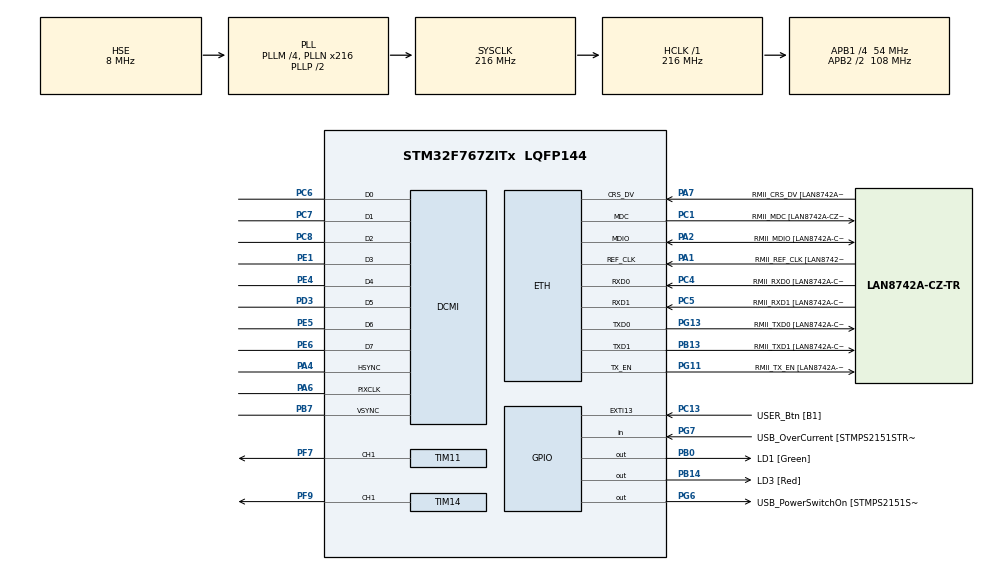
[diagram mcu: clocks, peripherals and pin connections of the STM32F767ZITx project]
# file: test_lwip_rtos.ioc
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CORTEX_M7.AccessPermission-Cortex_Memory_Protection_Unit_Region0_Settings=MPU_REGION_FULL_ACCESS
CORTEX_M7.AccessPermission-Cortex_Memory_Protection_Unit_Region1_Settings=MPU_REGION_FULL_ACCESS
CORTEX_M7.BaseAddress-Cortex_Memory_Protection_Unit_Region0_Settings=0x2007C000
CORTEX_M7.BaseAddress-Cortex_Memory_Protection_Unit_Region1_Settings=0x2007C000
CORTEX_M7.CPU_DCache=Enabled
CORTEX_M7.CPU_ICache=Enabled
CORTEX_M7.Enable-Cortex_Memory_Protection_Unit_Region0_Settings=MPU_REGION_ENABLE
CORTEX_M7.Enable-Cortex_Memory_Protection_Unit_Region1_Settings=MPU_REGION_ENABLE
CORTEX_M7.FlashInterface=TCM_Enabled
CORTEX_M7.IsBufferable-Cortex_Memory_Protection_Unit_Region1_Settings=MPU_ACCESS_BUFFERABLE
CORTEX_M7.IsShareable-Cortex_Memory_Protection_Unit_Region0_Settings=MPU_ACCESS_SHAREABLE
CORTEX_M7.IsShareable-Cortex_Memory_Protection_Unit_Region1_Settings=MPU_ACCESS_SHAREABLE
CORTEX_M7.MPU_Control=MPU_PRIVILEGED_DEFAULT
CORTEX_M7.Size-Cortex_Memory_Protection_Unit_Region0_Settings=MPU_REGION_SIZE_16KB
CORTEX_M7.Size-Cortex_Memory_Protection_Unit_Region1_Settings=MPU_REGION_SIZE_256B
CORTEX_M7.SubRegionDisable-Cortex_Memory_Protection_Unit_Region0_Settings=0x00
CORTEX_M7.SubRegionDisable-Cortex_Memory_Protection_Unit_Region1_Settings=0x00
CORTEX_M7.TypeExtField-Cortex_Memory_Protection_Unit_Region0_Settings=MPU_TEX_LEVEL1
DCMI.VSPolarity=DCMI_VSPOLARITY_HIGH
Dma.DCMI.2.Direction=DMA_PERIPH_TO_MEMORY
Dma.DCMI.2.FIFOMode=DMA_FIFOMODE_ENABLE
Dma.DCMI.2.FIFOThreshold=DMA_FIFO_THRESHOLD_FULL
Dma.DCMI.2.Instance=DMA2_Stream7
Dma.DCMI.2.MemBurst=DMA_MBURST_INC4
Dma.DCMI.2.MemDataAlignment=DMA_MDATAALIGN_WORD
Dma.DCMI.2.MemInc=DMA_MINC_ENABLE
Dma.DCMI.2.Mode=DMA_CIRCULAR
Dma.DCMI.2.PeriphBurst=DMA_PBURST_INC4
Dma.DCMI.2.PeriphDataAlignment=DMA_PDATAALIGN_WORD
Dma.DCMI.2.PeriphInc=DMA_PINC_DISABLE
Dma.DCMI.2.Priority=DMA_PRIORITY_VERY_HIGH
Dma.JPEG_IN.0.Direction=DMA_MEMORY_TO_PERIPH
Dma.JPEG_IN.0.FIFOMode=DMA_FIFOMODE_ENABLE
Dma.JPEG_IN.0.FIFOThreshold=DMA_FIFO_THRESHOLD_FULL
Dma.JPEG_IN.0.Instance=DMA2_Stream3
Dma.JPEG_IN.0.MemBurst=DMA_MBURST_INC4
Dma.JPEG_IN.0.MemDataAlignment=DMA_MDATAALIGN_WORD
Dma.JPEG_IN.0.MemInc=DMA_MINC_ENABLE
Dma.JPEG_IN.0.Mode=DMA_NORMAL
Dma.JPEG_IN.0.PeriphBurst=DMA_PBURST_INC4
Dma.JPEG_IN.0.PeriphDataAlignment=DMA_PDATAALIGN_WORD
Dma.JPEG_IN.0.PeriphInc=DMA_PINC_DISABLE
Dma.JPEG_IN.0.Priority=DMA_PRIORITY_VERY_HIGH
Dma.JPEG_OUT.1.Direction=DMA_PERIPH_TO_MEMORY
Dma.JPEG_OUT.1.FIFOMode=DMA_FIFOMODE_ENABLE
Dma.JPEG_OUT.1.FIFOThreshold=DMA_FIFO_THRESHOLD_FULL
Dma.JPEG_OUT.1.Instance=DMA2_Stream4
Dma.JPEG_OUT.1.MemBurst=DMA_MBURST_INC4
Dma.JPEG_OUT.1.MemDataAlignment=DMA_MDATAALIGN_WORD
Dma.JPEG_OUT.1.MemInc=DMA_MINC_ENABLE
Dma.JPEG_OUT.1.Mode=DMA_NORMAL
Dma.JPEG_OUT.1.PeriphBurst=DMA_PBURST_INC4
Dma.JPEG_OUT.1.PeriphDataAlignment=DMA_PDATAALIGN_WORD
Dma.JPEG_OUT.1.PeriphInc=DMA_PINC_DISABLE
Dma.JPEG_OUT.1.Priority=DMA_PRIORITY_LOW
Dma.Request0=JPEG_IN
Dma.Request1=JPEG_OUT
Dma.Request2=DCMI
ETH.MediaInterface=ETH_MEDIA_INTERFACE_RMII
ETH.PHY_ISFR_INT4=0x0010
ETH.PHY_Name=LAN8742A_PHY_ADDRESS
ETH.PHY_Value=0
ETH.PhyAddress=0
FREERTOS.BinarySemaphores01=RTP_SendSemaphore,Dynamic,NULL;EncJpegLine_SEM,Dynamic,NULL
FREERTOS.Tasks01=defaultTask,0,128,StartDefaultTask,Default,NULL,Dynamic,NULL,NULL
FREERTOS.configCHECK_FOR_STACK_OVERFLOW=0
FREERTOS.configTOTAL_HEAP_SIZE=262144
FREERTOS.configUSE_COUNTING_SEMAPHORES=1
FREERTOS.configUSE_RECURSIVE_MUTEXES=1
FREERTOS.configUSE_STATS_FORMATTING_FUNCTIONS=1
FREERTOS.configUSE_TRACE_FACILITY=1
JPEG.JPEG_RGB_FORMAT=JPEG_RGB565
JPEG.USE_JPEG_DECODER=0
LWIP.API_LIB_DEBUG=LWIP_DBG_OFF
LWIP.API_MSG_DEBUG=LWIP_DBG_OFF
LWIP.CMSIS_VERSION-Enabled=1
LWIP.DEFAULT_ACCEPTMBOX_SIZE=12
LWIP.DEFAULT_TCP_RECVMBOX_SIZE=12
LWIP.DEFAULT_UDP_RECVMBOX_SIZE=12
LWIP.DHCP_DEBUG=LWIP_DBG_OFF
LWIP.ETHARP_DEBUG=LWIP_DBG_OFF
LWIP.GATEWAY_ADDRESS=192.168.088.099
LWIP.HTTPD_DEBUG=LWIP_DBG_OFF
LWIP.ICMP_DEBUG=LWIP_DBG_OFF
LWIP.INET_DEBUG=LWIP_DBG_OFF
LWIP.IP_ADDRESS=192.168.088.099
LWIP.IP_DEBUG=LWIP_DBG_OFF
LWIP.LWIP_DBG_MIN_LEVEL=LWIP_DBG_LEVEL_ALL
LWIP.LWIP_DBG_TYPES_ON=LWIP_DBG_OFF
LWIP.LWIP_DHCP=0
LWIP.LWIP_HTTPD=1
LWIP.LWIP_HTTPD_DYNAMIC_HEADERS=1
LWIP.LWIP_TCPIP_CORE_LOCKING=1
LWIP.LWIP_TCPIP_CORE_LOCKING_INPUT=0
LWIP.MEMP_NUM_PBUF=50
LWIP.MEMP_NUM_TCP_PCB=15
LWIP.MEMP_NUM_TCP_SEG=40
LWIP.MEMP_NUM_UDP_PCB=6
LWIP.NETIF_DEBUG=LWIP_DBG_OFF
LWIP.NETMASK_ADDRESS=255.255.255.000
LWIP.PBUF_POOL_BUFSIZE=1524
LWIP.SOCKETS_DEBUG=LWIP_DBG_OFF
LWIP.SO_REUSE=1
LWIP.SYS_DEBUG=LWIP_DBG_OFF
LWIP.TCPIP_MBOX_SIZE=12
LWIP.TCP_DEBUG=LWIP_DBG_OFF
LWIP.TCP_MSS=1426
LWIP.TCP_SND_BUF=7130
LWIP.TCP_SND_QUEUELEN=30
LWIP.UDP_DEBUG=LWIP_DBG_OFF
LWIP.Version=v2.1.2_Cube
MBEDTLS.MBEDTLS_AESNI_C=0
MBEDTLS.MBEDTLS_AES_C=0
MBEDTLS.MBEDTLS_ARC4_C=0
MBEDTLS.MBEDTLS_ASN1_PARSE_C=0
MBEDTLS.MBEDTLS_ASN1_WRITE_C=0
MBEDTLS.MBEDTLS_BIGNUM_C=0
MBEDTLS.MBEDTLS_BLOWFISH_C=0
MBEDTLS.MBEDTLS_CAMELLIA_C=0
MBEDTLS.MBEDTLS_CERTS_C=0
MBEDTLS.MBEDTLS_CHACHA20_C=0
MBEDTLS.MBEDTLS_CIPHER_C=0
MBEDTLS.MBEDTLS_CIPHER_MODE_CBC=0
MBEDTLS.MBEDTLS_CIPHER_MODE_CFB=0
MBEDTLS.MBEDTLS_CIPHER_MODE_CTR=0
MBEDTLS.MBEDTLS_CIPHER_MODE_OFB=0
MBEDTLS.MBEDTLS_CIPHER_MODE_XTS=0
MBEDTLS.MBEDTLS_CIPHER_PADDING_ONE_AND_ZEROS=0
MBEDTLS.MBEDTLS_CIPHER_PADDING_PKCS7=0
MBEDTLS.MBEDTLS_CIPHER_PADDING_ZEROS=0
MBEDTLS.MBEDTLS_CIPHER_PADDING_ZEROS_AND_LEN=0
MBEDTLS.MBEDTLS_DES_C=0
MBEDTLS.MBEDTLS_DHM_C=0
MBEDTLS.MBEDTLS_ECP_DP_BP256R1_ENABLED=0
MBEDTLS.MBEDTLS_ECP_DP_BP384R1_ENABLED=0
MBEDTLS.MBEDTLS_ECP_DP_BP512R1_ENABLED=0
MBEDTLS.MBEDTLS_ECP_DP_CURVE25519_ENABLED=0
MBEDTLS.MBEDTLS_ECP_DP_CURVE448_ENABLED=0
MBEDTLS.MBEDTLS_ECP_DP_SECP192K1_ENABLED=0
MBEDTLS.MBEDTLS_ECP_DP_SECP192R1_ENABLED=0
MBEDTLS.MBEDTLS_ECP_DP_SECP224K1_ENABLED=0
MBEDTLS.MBEDTLS_ECP_DP_SECP224R1_ENABLED=0
MBEDTLS.MBEDTLS_ECP_DP_SECP256K1_ENABLED=0
MBEDTLS.MBEDTLS_ECP_DP_SECP256R1_ENABLED=0
MBEDTLS.MBEDTLS_ECP_DP_SECP384R1_ENABLED=0
MBEDTLS.MBEDTLS_ECP_DP_SECP521R1_ENABLED=0
MBEDTLS.MBEDTLS_ENTROPY_C=0
MBEDTLS.MBEDTLS_ERROR_C=0
MBEDTLS.MBEDTLS_HKDF_C=0
MBEDTLS.MBEDTLS_HMAC_DRBG_C=0
MBEDTLS.MBEDTLS_KEY_EXCHANGE_PSK_ENABLED=0
MBEDTLS.MBEDTLS_MD5_C=0
MBEDTLS.MBEDTLS_MD_C=0
MBEDTLS.MBEDTLS_NET_C=0
MBEDTLS.MBEDTLS_OID_C=0
MBEDTLS.MBEDTLS_PADLOCK_C=0
MBEDTLS.MBEDTLS_PEM_PARSE_C=0
MBEDTLS.MBEDTLS_PEM_WRITE_C=0
MBEDTLS.MBEDTLS_PK_RSA_ALT_SUPPORT=0
MBEDTLS.MBEDTLS_PLATFORM_C=0
MBEDTLS.MBEDTLS_POLY1305_C=0
MBEDTLS.MBEDTLS_REMOVE_3DES_CIPHERSUITES=0
MBEDTLS.MBEDTLS_REMOVE_ARC4_CIPHERSUITES=0
MBEDTLS.MBEDTLS_RIPEMD160_C=0
MBEDTLS.MBEDTLS_RNG_IP=SW_RNG
MBEDTLS.MBEDTLS_SHA256_C=0
MBEDTLS.MBEDTLS_SHA512_C=0
MBEDTLS.MBEDTLS_SSL_ALL_ALERT_MESSAGES=0
MBEDTLS.MBEDTLS_SSL_ALPN=0
MBEDTLS.MBEDTLS_SSL_CACHE_C=0
MBEDTLS.MBEDTLS_SSL_CBC_RECORD_SPLITTING=0
MBEDTLS.MBEDTLS_SSL_CLI_C=0
MBEDTLS.MBEDTLS_SSL_COOKIE_C=0
MBEDTLS.MBEDTLS_SSL_DTLS_BADMAC_LIMIT=0
MBEDTLS.MBEDTLS_SSL_DTLS_CLIENT_PORT_REUSE=0
MBEDTLS.MBEDTLS_SSL_DTLS_HELLO_VERIFY=0
MBEDTLS.MBEDTLS_SSL_ENCRYPT_THEN_MAC=0
MBEDTLS.MBEDTLS_SSL_EXPORT_KEYS=0
MBEDTLS.MBEDTLS_SSL_EXTENDED_MASTER_SECRET=0
MBEDTLS.MBEDTLS_SSL_FALLBACK_SCSV=0
MBEDTLS.MBEDTLS_SSL_PROTO_DTLS=0
MBEDTLS.MBEDTLS_SSL_PROTO_TLS1_2=0
MBEDTLS.MBEDTLS_SSL_RENEGOTIATION=0
MBEDTLS.MBEDTLS_SSL_SESSION_TICKETS=0
MBEDTLS.MBEDTLS_SSL_SRV_C=0
MBEDTLS.MBEDTLS_SSL_TRUNCATED_HMAC=0
MBEDTLS.MBEDTLS_VERSION_C=0
MBEDTLS.MBEDTLS_X509_CHECK_EXTENDED_KEY_USAGE=0
MBEDTLS.MBEDTLS_X509_CHECK_KEY_USAGE=0
MBEDTLS.MBEDTLS_X509_CREATE_C=0
MBEDTLS.MBEDTLS_X509_CRT_WRITE_C=0
MBEDTLS.MBEDTLS_X509_CSR_PARSE_C=0
MBEDTLS.MBEDTLS_X509_CSR_WRITE_C=0
MBEDTLS.MBEDTLS_X509_RSASSA_PSS_SUPPORT=0
MBEDTLS.MBEDTLS_XTEA_C=0
Mcu.Family=STM32F7
Mcu.Name=STM32F767ZITx
Mcu.Package=LQFP144
NVIC.DCMI_IRQn=true\:11\:0\:true\:false\:true\:true\:true\:true
NVIC.DMA2_Stream3_IRQn=true\:7\:0\:true\:false\:true\:false\:false\:true
NVIC.DMA2_Stream4_IRQn=true\:7\:0\:true\:false\:true\:false\:false\:true
NVIC.DMA2_Stream7_IRQn=true\:12\:0\:true\:false\:true\:false\:false\:true
NVIC.ETH_IRQn=true\:8\:0\:true\:false\:true\:false\:false\:true
NVIC.JPEG_IRQn=true\:6\:0\:true\:false\:true\:true\:true\:true
NVIC.PriorityGroup=NVIC_PRIORITYGROUP_4
NVIC.TIM6_DAC_IRQn=true\:0\:0\:false\:false\:true\:false\:false\:true
NVIC.TimeBase=TIM6_DAC_IRQn
NVIC.TimeBaseIP=TIM6
PA1.GPIO_Label=RMII_REF_CLK [LAN8742A-CZ-TR_REFCLK0]
PA1.Mode=RMII
PA1.Signal=ETH_REF_CLK
PA10.GPIO_Label=USB_ID
PA10.Signal=USB_OTG_FS_ID
PA11.GPIO_Label=USB_DM
PA11.Signal=USB_OTG_FS_DM
PA12.GPIO_Label=USB_DP
PA12.Signal=USB_OTG_FS_DP
PA13.GPIO_Label=TMS
PA13.Mode=Trace_Asynchronous_SW
PA13.Signal=SYS_JTMS-SWDIO
PA14.GPIO_Label=TCK
PA14.Mode=Trace_Asynchronous_SW
PA14.Signal=SYS_JTCK-SWCLK
PA2.GPIO_Label=RMII_MDIO [LAN8742A-CZ-TR_MDIO]
PA2.Mode=RMII
PA2.Signal=ETH_MDIO
PA4.Mode=Slave_8_bits_External_Synchro
PA4.Signal=DCMI_HSYNC
PA6.Mode=Slave_8_bits_External_Synchro
PA6.Signal=DCMI_PIXCLK
PA7.GPIO_Label=RMII_CRS_DV [LAN8742A-CZ-TR_CRS_DV]
PA7.Mode=RMII
PA7.Signal=ETH_CRS_DV
PA8.GPIO_Label=USB_SOF [TP1]
PA8.Signal=USB_OTG_FS_SOF
PA9.GPIO_Label=USB_VBUS
PA9.Signal=USB_OTG_FS_VBUS
PB0.GPIO_Label=LD1 [Green]
PB0.Signal=GPIO_Output
PB13.GPIO_Label=RMII_TXD1 [LAN8742A-CZ-TR_TXD1]
PB13.Mode=RMII
PB13.Signal=ETH_TXD1
PB14.GPIO_Label=LD3 [Red]
PB14.Signal=GPIO_Output
PB3.GPIO_Label=SWO
PB3.Mode=Trace_Asynchronous_SW
PB3.Signal=SYS_JTDO-SWO
PB7.Mode=Slave_8_bits_External_Synchro
PB7.Signal=DCMI_VSYNC
PC1.GPIO_Label=RMII_MDC [LAN8742A-CZ-TR_MDC]
PC1.Mode=RMII
PC1.Signal=ETH_MDC
PC13.GPIO_Label=USER_Btn [B1]
PC13.Signal=GPXTI13
PC14/OSC32_IN.Mode=LSE-External-Oscillator
PC14/OSC32_IN.Signal=RCC_OSC32_IN
PC15/OSC32_OUT.Mode=LSE-External-Oscillator
PC15/OSC32_OUT.Signal=RCC_OSC32_OUT
PC4.GPIO_Label=RMII_RXD0 [LAN8742A-CZ-TR_RXD0]
PC4.Mode=RMII
PC4.Signal=ETH_RXD0
PC5.GPIO_Label=RMII_RXD1 [LAN8742A-CZ-TR_RXD1]
PC5.Mode=RMII
PC5.Signal=ETH_RXD1
PC6.Mode=Slave_8_bits_External_Synchro
PC6.Signal=DCMI_D0
PC7.Mode=Slave_8_bits_External_Synchro
PC7.Signal=DCMI_D1
PC8.Mode=Slave_8_bits_External_Synchro
PC8.Signal=DCMI_D2
PD3.Mode=Slave_8_bits_External_Synchro
PD3.Signal=DCMI_D5
PD8.GPIO_Label=STLK_RX [STM32F103CBT6_PA3]
PD8.Signal=USART3_TX
PD9.GPIO_Label=STLK_TX [STM32F103CBT6_PA2]
PD9.Signal=USART3_RX
PE1.Mode=Slave_8_bits_External_Synchro
PE1.Signal=DCMI_D3
PE4.Mode=Slave_8_bits_External_Synchro
PE4.Signal=DCMI_D4
PE5.Mode=Slave_8_bits_External_Synchro
PE5.Signal=DCMI_D6
PE6.Mode=Slave_8_bits_External_Synchro
PE6.Signal=DCMI_D7
PF7.Signal=S_TIM11_CH1
PF9.Signal=S_TIM14_CH1
PG11.GPIO_Label=RMII_TX_EN [LAN8742A-CZ-TR_TXEN]
PG11.Mode=RMII
PG11.Signal=ETH_TX_EN
PG13.GPIO_Label=RMII_TXD0 [LAN8742A-CZ-TR_TXD0]
PG13.Mode=RMII
PG13.Signal=ETH_TXD0
PG6.GPIO_Label=USB_PowerSwitchOn [STMPS2151STR_EN]
PG6.Signal=GPIO_Output
PG7.GPIO_Label=USB_OverCurrent [STMPS2151STR_FAULT]
PG7.Signal=GPIO_Input
PH0/OSC_IN.GPIO_Label=MCO [STM32F103CBT6_PA8]
PH0/OSC_IN.Mode=HSE-External-Clock-Source
PH0/OSC_IN.Signal=RCC_OSC_IN
PH1/OSC_OUT.Mode=HSE-External-Clock-Source
PH1/OSC_OUT.Signal=RCC_OSC_OUT
ProjectManager.HeapSize=0x200
ProjectManager.StackSize=0x400
ProjectManager.TargetToolchain=STM32CubeIDE
RCC.48MHZClocksFreq_Value=24000000
RCC.AHBFreq_Value=216000000
RCC.APB1CLKDivider=RCC_HCLK_DIV4
RCC.APB1Freq_Value=54000000
RCC.APB1TimFreq_Value=108000000
RCC.APB2CLKDivider=RCC_HCLK_DIV2
RCC.APB2Freq_Value=108000000
RCC.APB2TimFreq_Value=216000000
RCC.CortexFreq_Value=216000000
RCC.HCLKFreq_Value=216000000
RCC.HSE_VALUE=8000000
RCC.HSI_VALUE=16000000
RCC.PLLM=4
RCC.PLLMUL=RCC_PLL_MUL9
RCC.PLLN=216
RCC.PLLQ=4
RCC.PLLSourceVirtual=RCC_PLLSOURCE_HSE
RCC.PRESCALERUSB=RCC_USBCLKSOURCE_PLL_DIV1_5
RCC.SYSCLKFreq_VALUE=216000000
RCC.SYSCLKSource=RCC_SYSCLKSOURCE_PLLCLK
RCC.SYSCLKSourceVirtual=RCC_SYSCLKSOURCE_PLLCLK
RCC.USBFreq_Value=108000000
RCC.VCOOutputFreq_Value=432000000
SH.S_TIM11_CH1.0=TIM11_CH1,PWM Generation1 CH1
SH.S_TIM14_CH1.0=TIM14_CH1,PWM Generation1 CH1
TIM11.Channel=TIM_CHANNEL_1
TIM11.Period=2000-1
TIM11.Prescaler=1080-1
TIM14.Channel=TIM_CHANNEL_1
TIM14.Period=2000-1
TIM14.Prescaler=540-1
VP_FREERTOS_VS_CMSIS_V1.Mode=CMSIS_V1
VP_JPEG_VS_JPEG.Mode=JPEG_Activate
VP_LWIP_VS_Enabled.Mode=Enabled
VP_MBEDTLS_VS_MBEDTLS.Mode=Enabled
VP_SYS_VS_tim6.Mode=TIM6
VP_TIM11_VS_ClockSourceINT.Mode=Enable_Timer
VP_TIM14_VS_ClockSourceINT.Mode=Enable_Timer
board=NUCLEO-F767ZI

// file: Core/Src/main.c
/* USER CODE BEGIN Header */
/**
  ******************************************************************************
  * @file           : main.c
  * @brief          : Main program body
  ******************************************************************************
  * @attention
  *
  * <h2><center>&copy; Copyright (c) 2020 STMicroelectronics.
  * All rights reserved.</center></h2>
  *
  * This software component is licensed by ST under BSD 3-Clause license,
  * the "License"; You may not use this file except in compliance with the
  * License. You may obtain a copy of the License at:
  *                        opensource.org/licenses/BSD-3-Clause
  *
  ******************************************************************************
  */
/* USER CODE END Header */
#include "main.h"
#include "cmsis_os.h"
#include "dcmi.h"
#include "dma.h"
#include "jpeg.h"
#include "mbedtls.h"
#include "tim.h"
#include "gpio.h"

void SystemClock_Config(void);
static void MPU_Config(void);
void MX_FREERTOS_Init(void);

/* USER CODE BEGIN 0 */
int _write(int file, char *ptr, int len)
{
  /* Implement your write code here, this is used by puts and printf for example */
  int i = 0;

  taskENTER_CRITICAL();
  {
    for(i = 0; i < len; i++)
      ITM_SendChar(*ptr++);
  }
  taskEXIT_CRITICAL();

  return len;
}

int map(int st1, int fn1, int st2, int fn2, int value)
{
    return (1.0*(value-st1))/((fn1-st1)*1.0) * (fn2-st2)+st2;
}
/* USER CODE END 0 */

int main(void)
{

  /* MPU Configuration--------------------------------------------------------*/
  MPU_Config();

  /* Enable I-Cache---------------------------------------------------------*/
  SCB_EnableICache();

  /* Enable D-Cache---------------------------------------------------------*/
  SCB_EnableDCache();

  /* MCU Configuration--------------------------------------------------------*/

  /* Reset of all peripherals, Initializes the Flash interface and the Systick. */
  HAL_Init();

  /* Configure the system clock */
  SystemClock_Config();

  /* Initialize all configured peripherals */
  MX_GPIO_Init();
  MX_DMA_Init();
  MX_JPEG_Init();
  MX_DCMI_Init();
  MX_MBEDTLS_Init();
  MX_TIM11_Init();
  MX_TIM14_Init();
  /* USER CODE BEGIN 2 */
  __HAL_TIM_SET_COMPARE(&htim11, TIM_CHANNEL_1, map(0,180,50,250,250));
  __HAL_TIM_SET_COMPARE(&htim14, TIM_CHANNEL_1, map(0,180,50,250,230));
  HAL_TIM_PWM_Start(&htim11, TIM_CHANNEL_1);
  HAL_TIM_PWM_Start(&htim14, TIM_CHANNEL_1);

  /* USER CODE END 2 */

  /* Call init function for freertos objects (in freertos.c) */
  MX_FREERTOS_Init();
  /* Start scheduler */
  osKernelStart();

  /* We should never get here as control is now taken by the scheduler */
  /* Infinite loop */
  while (1)
  {

  }
}

void SystemClock_Config(void)
{
  RCC_OscInitTypeDef RCC_OscInitStruct = {0};
  RCC_ClkInitTypeDef RCC_ClkInitStruct = {0};

  /** Configure LSE Drive Capability
  */
  HAL_PWR_EnableBkUpAccess();
  /** Configure the main internal regulator output voltage
  */
  __HAL_RCC_PWR_CLK_ENABLE();
  __HAL_PWR_VOLTAGESCALING_CONFIG(PWR_REGULATOR_VOLTAGE_SCALE1);
  /** Initializes the RCC Oscillators according to the specified parameters
  * in the RCC_OscInitTypeDef structure.
  */
  RCC_OscInitStruct.OscillatorType = RCC_OSCILLATORTYPE_HSE;
  RCC_OscInitStruct.HSEState = RCC_HSE_BYPASS;
  RCC_OscInitStruct.PLL.PLLState = RCC_PLL_ON;
  RCC_OscInitStruct.PLL.PLLSource = RCC_PLLSOURCE_HSE;
  RCC_OscInitStruct.PLL.PLLM = 4;
  RCC_OscInitStruct.PLL.PLLN = 216;
  RCC_OscInitStruct.PLL.PLLP = RCC_PLLP_DIV2;
  RCC_OscInitStruct.PLL.PLLQ = 4;
  if (HAL_RCC_OscConfig(&RCC_OscInitStruct) != HAL_OK)
  {
    Error_Handler();
  }
  /** Activate the Over-Drive mode
  */
  if (HAL_PWREx_EnableOverDrive() != HAL_OK)
  {
    Error_Handler();
  }
  /** Initializes the CPU, AHB and APB buses clocks
  */
  RCC_ClkInitStruct.ClockType = RCC_CLOCKTYPE_HCLK|RCC_CLOCKTYPE_SYSCLK
                              |RCC_CLOCKTYPE_PCLK1|RCC_CLOCKTYPE_PCLK2;
  RCC_ClkInitStruct.SYSCLKSource = RCC_SYSCLKSOURCE_PLLCLK;
  RCC_ClkInitStruct.AHBCLKDivider = RCC_SYSCLK_DIV1;
  RCC_ClkInitStruct.APB1CLKDivider = RCC_HCLK_DIV4;
  RCC_ClkInitStruct.APB2CLKDivider = RCC_HCLK_DIV2;

  if (HAL_RCC_ClockConfig(&RCC_ClkInitStruct, FLASH_LATENCY_7) != HAL_OK)
  {
    Error_Handler();
  }
}

/* USER CODE BEGIN 4 */

/**
  * @brief  Get the images sizes from BMP header.
  * @param  pInfo : pointer to the Info structure
  * @retval None
  */
void RGB_GetInfo(JPEG_ConfTypeDef *pInfo)
{
  /* Read Images Sizes */
  pInfo->ImageWidth         = FRAME_SIZE_WIDTH;
  pInfo->ImageHeight        = FRAME_SIZE_HEIGHT;

  /* Jpeg Encoding Setting to be set by users */
  pInfo->ChromaSubsampling  = JPEG_CHROMA_SAMPLING;
  pInfo->ColorSpace         = JPEG_COLOR_SPACE;
  pInfo->ImageQuality       = JPEG_IMAGE_QUALITY;

  /*Check if Image Sizes meets the requirements */
  if (((pInfo->ImageWidth % 8) != 0 ) || ((pInfo->ImageHeight % 8) != 0 ) || \
      (((pInfo->ImageWidth % 16) != 0 ) && (pInfo->ColorSpace == JPEG_YCBCR_COLORSPACE) && (pInfo->ChromaSubsampling != JPEG_444_SUBSAMPLING)) || \
      (((pInfo->ImageHeight % 16) != 0 ) && (pInfo->ColorSpace == JPEG_YCBCR_COLORSPACE) && (pInfo->ChromaSubsampling == JPEG_420_SUBSAMPLING)))
  {
    Error_Handler();
  }

}

/* USER CODE END 4 */

/* MPU Configuration */

void MPU_Config(void)
{
  MPU_Region_InitTypeDef MPU_InitStruct = {0};

  /* Disables the MPU */
  HAL_MPU_Disable();
  /** Initializes and configures the Region and the memory to be protected
  */
  MPU_InitStruct.Enable = MPU_REGION_ENABLE;
  MPU_InitStruct.Number = MPU_REGION_NUMBER0;
  MPU_InitStruct.BaseAddress = 0x2007C000;
  MPU_InitStruct.Size = MPU_REGION_SIZE_16KB;
  MPU_InitStruct.SubRegionDisable = 0x00;
  MPU_InitStruct.TypeExtField = MPU_TEX_LEVEL1;
  MPU_InitStruct.AccessPermission = MPU_REGION_FULL_ACCESS;
  MPU_InitStruct.DisableExec = MPU_INSTRUCTION_ACCESS_ENABLE;
  MPU_InitStruct.IsShareable = MPU_ACCESS_SHAREABLE;
  MPU_InitStruct.IsCacheable = MPU_ACCESS_NOT_CACHEABLE;
  MPU_InitStruct.IsBufferable = MPU_ACCESS_NOT_BUFFERABLE;

  HAL_MPU_ConfigRegion(&MPU_InitStruct);
  /** Initializes and configures the Region and the memory to be protected
  */
  MPU_InitStruct.Enable = MPU_REGION_ENABLE;
  MPU_InitStruct.Number = MPU_REGION_NUMBER1;
  MPU_InitStruct.BaseAddress = 0x2007C000;
  MPU_InitStruct.Size = MPU_REGION_SIZE_256B;
  MPU_InitStruct.SubRegionDisable = 0x00;
  MPU_InitStruct.TypeExtField = MPU_TEX_LEVEL0;
  MPU_InitStruct.AccessPermission = MPU_REGION_FULL_ACCESS;
  MPU_InitStruct.DisableExec = MPU_INSTRUCTION_ACCESS_ENABLE;
  MPU_InitStruct.IsShareable = MPU_ACCESS_SHAREABLE;
  MPU_InitStruct.IsCacheable = MPU_ACCESS_NOT_CACHEABLE;
  MPU_InitStruct.IsBufferable = MPU_ACCESS_BUFFERABLE;

  HAL_MPU_ConfigRegion(&MPU_InitStruct);
  /* Enables the MPU */
  HAL_MPU_Enable(MPU_PRIVILEGED_DEFAULT);

}
void HAL_TIM_PeriodElapsedCallback(TIM_HandleTypeDef *htim)
{
  if (htim->Instance == TIM6) {
    HAL_IncTick();
  }
}

void Error_Handler(void)
{
}

/************************ (C) COPYRIGHT STMicroelectronics *****END OF FILE****/
